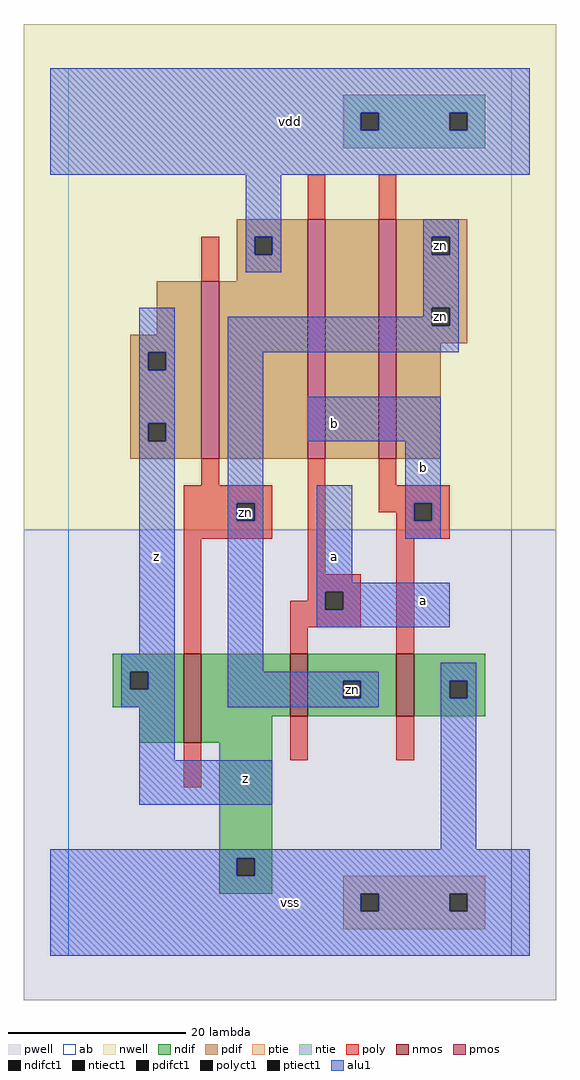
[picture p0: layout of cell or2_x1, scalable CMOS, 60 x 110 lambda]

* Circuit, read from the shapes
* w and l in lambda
.subckt or2_x1 a b vdd vss z zn
M1 vss zn z vss nfet w=10 l=2
M2 zn a vss vss nfet w=7 l=2
M3 vss b zn vss nfet w=7 l=2
M4 vdd zn z vdd pfet w=20 l=2
M5 n1 a vdd vdd pfet w=27 l=2
M6 zn b n1 vdd pfet w=27 l=2
.ends

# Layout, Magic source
magic
tech scmos
<< ab >>
rect 0 0 50 100
<< nwell >>
rect -5 48 55 105
<< pwell >>
rect -5 -5 55 48
<< poly >>
rect 27 83 29 88
rect 35 83 37 88
rect 15 76 17 81
rect 15 53 17 56
rect 13 51 23 53
rect 13 49 19 51
rect 21 49 23 51
rect 13 47 23 49
rect 13 34 15 47
rect 27 43 29 56
rect 35 53 37 56
rect 35 51 43 53
rect 35 50 39 51
rect 37 49 39 50
rect 41 49 43 51
rect 37 47 43 49
rect 27 41 33 43
rect 27 40 29 41
rect 25 39 29 40
rect 31 39 33 41
rect 25 37 33 39
rect 25 34 27 37
rect 37 34 39 47
rect 13 19 15 24
rect 25 22 27 27
rect 37 22 39 27
<< ndif >>
rect 5 32 13 34
rect 5 30 7 32
rect 9 30 13 32
rect 5 28 13 30
rect 8 24 13 28
rect 15 27 25 34
rect 27 31 37 34
rect 27 29 31 31
rect 33 29 37 31
rect 27 27 37 29
rect 39 31 47 34
rect 39 29 43 31
rect 45 29 47 31
rect 39 27 47 29
rect 15 24 23 27
rect 17 11 23 24
rect 17 9 19 11
rect 21 9 23 11
rect 17 7 23 9
<< pdif >>
rect 19 81 27 83
rect 19 79 21 81
rect 23 79 27 81
rect 19 76 27 79
rect 10 70 15 76
rect 7 68 15 70
rect 7 66 9 68
rect 11 66 15 68
rect 7 60 15 66
rect 7 58 9 60
rect 11 58 15 60
rect 7 56 15 58
rect 17 56 27 76
rect 29 56 35 83
rect 37 81 45 83
rect 37 79 41 81
rect 43 79 45 81
rect 37 73 45 79
rect 37 71 41 73
rect 43 71 45 73
rect 37 69 45 71
rect 37 56 42 69
<< alu1 >>
rect -2 95 52 100
rect -2 93 33 95
rect 35 93 43 95
rect 45 93 52 95
rect -2 88 52 93
rect 20 81 24 88
rect 20 79 21 81
rect 23 79 24 81
rect 20 77 24 79
rect 40 81 44 83
rect 40 79 41 81
rect 43 79 44 81
rect 40 73 44 79
rect 8 68 12 73
rect 40 72 41 73
rect 8 66 9 68
rect 11 66 12 68
rect 8 60 12 66
rect 8 58 9 60
rect 11 58 12 60
rect 8 34 12 58
rect 6 32 12 34
rect 6 30 7 32
rect 9 30 12 32
rect 6 28 12 30
rect 18 71 41 72
rect 43 71 44 73
rect 18 68 44 71
rect 18 51 22 68
rect 27 58 42 63
rect 18 49 19 51
rect 21 49 22 51
rect 18 32 22 49
rect 28 42 32 53
rect 38 51 42 58
rect 38 49 39 51
rect 41 49 42 51
rect 38 47 42 49
rect 28 41 43 42
rect 28 39 29 41
rect 31 39 43 41
rect 28 37 43 39
rect 18 31 35 32
rect 18 29 31 31
rect 33 29 35 31
rect 18 28 35 29
rect 42 31 46 33
rect 42 29 43 31
rect 45 29 46 31
rect 8 22 12 28
rect 8 17 23 22
rect 42 12 46 29
rect -2 11 52 12
rect -2 9 19 11
rect 21 9 52 11
rect -2 7 52 9
rect -2 5 33 7
rect 35 5 43 7
rect 45 5 52 7
rect -2 0 52 5
<< ptie >>
rect 31 7 47 9
rect 31 5 33 7
rect 35 5 43 7
rect 45 5 47 7
rect 31 3 47 5
<< ntie >>
rect 31 95 47 97
rect 31 93 33 95
rect 35 93 43 95
rect 45 93 47 95
rect 31 91 47 93
<< nmos >>
rect 13 24 15 34
rect 25 27 27 34
rect 37 27 39 34
<< pmos >>
rect 15 56 17 76
rect 27 56 29 83
rect 35 56 37 83
<< polyct1 >>
rect 19 49 21 51
rect 39 49 41 51
rect 29 39 31 41
<< ndifct1 >>
rect 7 30 9 32
rect 31 29 33 31
rect 43 29 45 31
rect 19 9 21 11
<< ntiect1 >>
rect 33 93 35 95
rect 43 93 45 95
<< ptiect1 >>
rect 33 5 35 7
rect 43 5 45 7
<< pdifct1 >>
rect 21 79 23 81
rect 9 66 11 68
rect 9 58 11 60
rect 41 79 43 81
rect 41 71 43 73
<< labels >>
rlabel polyct1 20 50 20 50 6 zn
rlabel ndifct1 32 30 32 30 6 zn
rlabel pdifct1 42 80 42 80 6 zn
rlabel pdifct1 42 72 42 72 6 zn
rlabel alu1 20 20 20 20 6 z
rlabel alu1 10 45 10 45 6 z
rlabel alu1 25 6 25 6 6 vss
rlabel alu1 30 45 30 45 6 a
rlabel alu1 30 60 30 60 6 b
rlabel alu1 25 94 25 94 6 vdd
rlabel alu1 40 40 40 40 6 a
rlabel alu1 40 55 40 55 6 b
<< end >>
